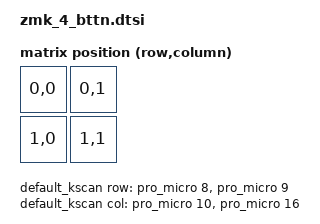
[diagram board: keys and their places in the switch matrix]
/*
 * Copyright (c) 2020 Pete Johanson
 *
 * SPDX-License-Identifier: MIT
 */

#include <dt-bindings/zmk/matrix_transform.h>

/ {
    chosen {
        zmk,kscan = &default_kscan;
        zmk,matrix-transform = &default_transform;
    };

    default_transform: keymap_transform {
        compatible = "zmk,matrix-transform";
        columns = <2>;
        rows = <2>;
// | SW1  | SW2  | SW3  | SW4  | SW5  | SW6  |   | SW6  | SW5  | SW4  | SW3  | SW2  | SW1  |
// | SW7  | SW8  | SW9  | SW10 | SW11 | SW12 |   | SW12 | SW11 | SW10 | SW9  | SW8  | SW7  |
// | SW13 | SW14 | SW15 | SW16 | SW17 | SW18 |   | SW18 | SW17 | SW16 | SW15 | SW14 | SW13 |
//                      | SW19 | SW20 | SW21 |   | SW21 | SW20 | SW19 |
        map = <
RC(0,0) RC(0,1)
RC(1,0) RC(1,1)
        >;
    };

    default_kscan: kscan {
        compatible = "zmk,kscan-gpio-matrix";
        wakeup-source;

        diode-direction = "col2row";

        row-gpios = <&pro_micro 8 (GPIO_ACTIVE_HIGH | GPIO_PULL_DOWN)>,
                    <&pro_micro 9 (GPIO_ACTIVE_HIGH | GPIO_PULL_DOWN)>;


        col-gpios = <&pro_micro 10 (GPIO_ACTIVE_HIGH)>,
                    <&pro_micro 16 (GPIO_ACTIVE_HIGH)>;

    };

    // TODO: per-key RGB node(s)?
};
